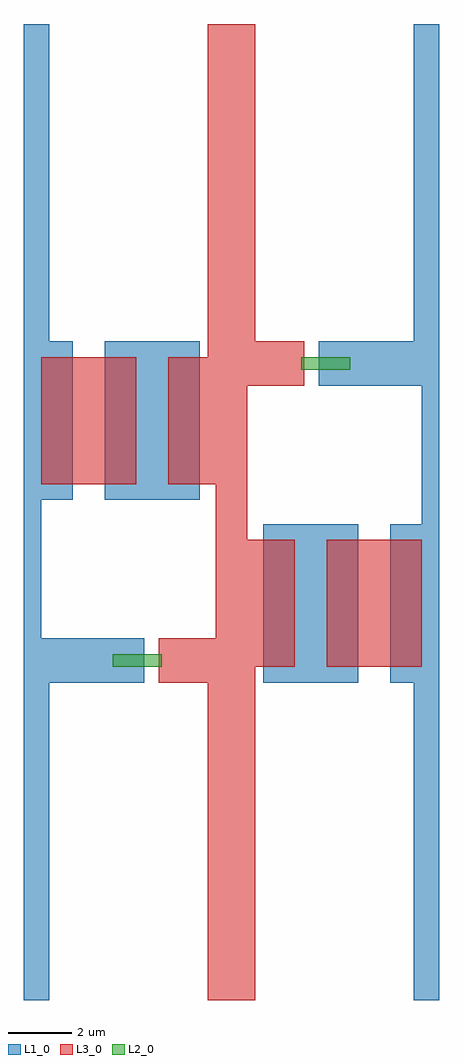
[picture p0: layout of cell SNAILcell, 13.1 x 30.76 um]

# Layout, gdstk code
import gdstk
lib = gdstk.Library(unit=1e-6, precision=1e-09)
def R(c, l, rs):  # rectangles x0, y0, x1, y1
    for r in rs: c.add(gdstk.rectangle(r[:2], r[2:], *l))
L1_0 = (1, 0)
L2_0 = (2, 0)
L3_0 = (3, 0)

snailcell = lib.new_cell('SNAILcell')
R(snailcell, L1_0, [(-0.05,-15.382,0.75,-5.282), (12.25,-15.382,13.05,-5.282), (-0.05,-5.382,2.3,-3.982), (2.2,-5.382,3.75,-3.982), (7.5,-5.382,9.05,-0.382), (8.95,-5.382,10.5,-0.382), (11.5,-5.382,13.05,-0.382), (-0.05,-4.082,0.5,0.482), (12.5,-0.482,13.05,4.082), (-0.05,0.382,1.5,5.382), (2.5,0.382,4.05,5.382), (3.95,0.382,5.5,5.382), (9.25,3.982,10.8,5.382), (10.7,3.982,13.05,5.382), (-0.05,5.282,0.75,15.382), (12.25,5.282,13.05,15.382)])
R(snailcell, L2_0, [(2.75,-4.882,4.3,-4.482), (8.7,4.482,10.25,4.882)])
R(snailcell, L3_0, [(5.75,-15.382,6.55,-5.282), (6.45,-15.382,7.25,-4.782), (4.2,-5.382,6.55,-3.982), (6.45,-4.882,7,4.082), (6.95,-4.882,8.5,-0.882), (7,-4.882,7.05,-0.882), (9.5,-4.882,11.05,-0.882), (10.95,-4.882,12.5,-0.882), (6,-4.082,6.55,4.882), (0.5,0.882,2.05,4.882), (1.95,0.882,3.5,4.882), (4.5,0.882,6.05,4.882), (5.95,0.882,6,4.882), (6.45,3.982,8.8,5.382), (5.75,4.782,6.55,15.382), (6.45,5.282,7.25,15.382)])

lib.write_gds('SNAILcell.gds')
